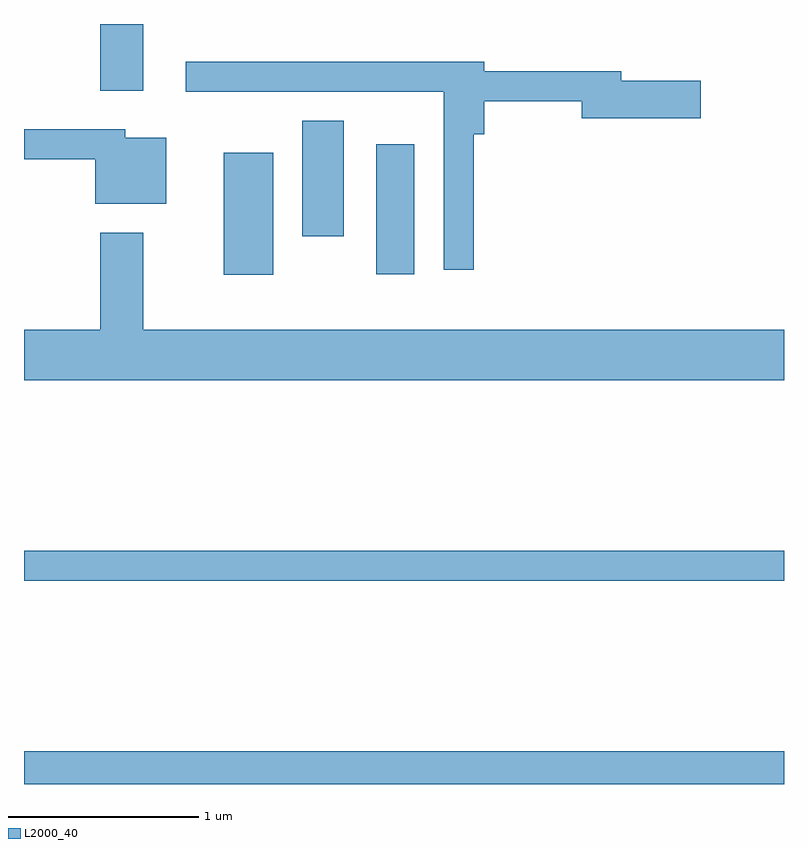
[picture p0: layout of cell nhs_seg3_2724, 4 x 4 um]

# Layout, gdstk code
import gdstk
lib = gdstk.Library(unit=1e-6, precision=1e-09)
def R(c, l, rs):  # rectangles x0, y0, x1, y1
    for r in rs: c.add(gdstk.rectangle(r[:2], r[2:], *l))
def P(c, l, *ps):  # polygons
    for p in ps: c.add(gdstk.Polygon(p, *l))
L2000_40 = (2000, 40)

nhs_seg3_2724 = lib.new_cell('nhs_seg3_2724')
R(nhs_seg3_2724, L2000_40, [(265.611,1123.892,269.611,1124.064), (265.611,1124.961,269.611,1125.119), (266.661,1126.571,266.924,1127.214), (267.466,1126.576,267.664,1127.259), (267.076,1126.776,267.294,1127.384), (266.011,1127.541,266.239,1127.892)])
P(nhs_seg3_2724, L2000_40, [(267.979,1127.311),(268.034,1127.311),(268.034,1127.486),(268.546,1127.486),(268.546,1127.396),(269.174,1127.396),(269.174,1127.594),(268.754,1127.594),(268.754,1127.644),(268.034,1127.644),(268.034,1127.694),(266.463,1127.694),(266.463,1127.536),(267.821,1127.536),(267.821,1126.598),(267.979,1126.598)],
  [(266.359,1127.294),(266.144,1127.294),(266.144,1127.339),(265.611,1127.339),(265.611,1127.181),(265.986,1127.181),(265.986,1126.946),(266.359,1126.946)],
  [(269.611,1126.284),(266.239,1126.284),(266.239,1126.794),(266.011,1126.794),(266.011,1126.284),(265.611,1126.284),(265.611,1126.016),(269.611,1126.016)])

lib.write_gds('nhs_seg3_2724.gds')
